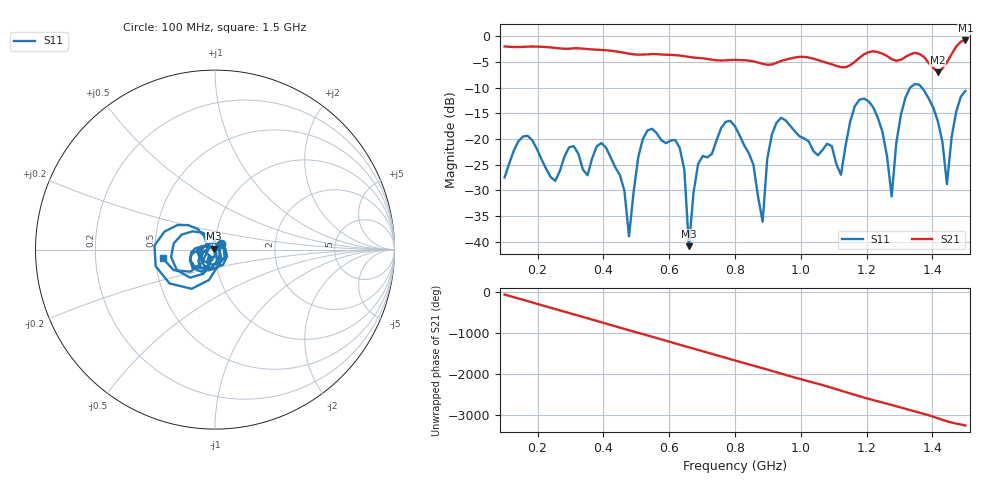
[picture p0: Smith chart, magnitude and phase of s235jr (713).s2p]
! NanoVNA-App
! Date: 2025-09-25 15:09:43
! Start: 100MHz Stop: 1,5GHz Points: 101
! S-Parameter data: F S11 S21 S12 S22
# Hz S RI R 50
!  Frequency  S11_Real  S11_Imag  S21_Real  S21_Imag  S12_Real  S12_Imag  S22_Real  S22_Imag
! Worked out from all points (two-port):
!   101 points, 100 MHz to 1.5 GHz, reference 50 ohm
!   highest |S21| = -0.80 dB at 1.5 GHz (marker M1); lowest = -7.0 dB at 1.416 GHz (marker M2)
!   |S21| within 3 dB of the highest: start of sweep to 639 MHz; 1.186 GHz to 1.261 GHz (75.32 MHz wide, 6.16 % of centre)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
!   lowest |S11| = -40.9 dB at 660 MHz (marker M3), VSWR 1.02, Z = 49.3 + j0.554 ohm
!   |S11| at or under -10 dB: start of sweep to 1.332 GHz; 1.367 GHz to end of sweep
!   S12 and S22 are empty: the file has one direction only
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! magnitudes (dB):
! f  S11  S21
! 100 MHz  -27.5  -2.0
! 170 MHz  -19.4  -2.0
! 338 MHz  -26.0  -2.4
! 408 MHz  -21.7  -2.7
! 478 MHz  -38.9  -3.4
! 520 MHz  -20.0  -3.5
! 576 MHz  -20.2  -3.5
! 632 MHz  -21.7  -3.7
! 660 MHz  -40.9  -4.0
! 688 MHz  -24.8  -4.2
! 800 MHz  -17.5  -4.6
! 884 MHz  -36.1  -5.4
! 926 MHz  -16.8  -5.2
! 1.038 GHz  -22.3  -4.4
! 1.122 GHz  -27.0  -6.0
! 1.192 GHz  -12.1  -3.5
! 1.248 GHz  -18.6  -3.4
! 1.276 GHz  -31.2  -4.4
! 1.332 GHz  -10.0  -3.5
! 1.416 GHz  -16.5  -7.0
! 1.444 GHz  -28.8  -5.1
! 1.5 GHz  -10.6  -0.8
